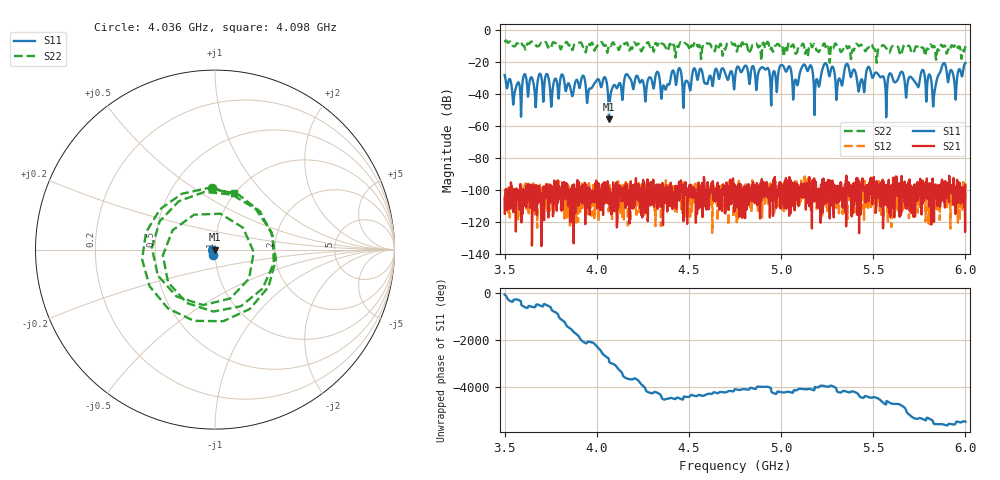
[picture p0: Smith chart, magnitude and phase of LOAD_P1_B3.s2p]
# Hz S RI R 50
! RAW DATA - UNCALIBRATED
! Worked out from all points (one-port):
!   1601 points, 3.5 GHz to 6 GHz, reference 50 ohm
!   lowest |S11| = -55.7 dB at 4.067 GHz (marker M1), VSWR 1.00, Z = 50.1 - j0.121 ohm
!   |S11| at or under -10 dB: start of sweep to end of sweep
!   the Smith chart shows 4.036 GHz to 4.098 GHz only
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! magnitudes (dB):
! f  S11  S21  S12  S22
! 3.5 GHz  -28.0  -105.2  -102.6  -7.5
! 3.552 GHz  -41.4  -103.0  -99.3  -10.1
! 3.609 GHz  -27.5  -105.0  -101.8  -11.2
! 3.917 GHz  -30.3  -99.8  -98.4  -8.2
! 4.044 GHz  -29.3  -104.3  -104.1  -9.3
! 4.067 GHz  -55.7  -98.9  -101.5  -9.1
! 4.162 GHz  -27.4  -106.7  -100.9  -7.7
! 4.334 GHz  -26.8  -107.1  -107.5  -8.3
! 4.75 GHz  -30.4  -100.4  -103.3  -8.7
! 5.167 GHz  -23.5  -123.9  -97.8  -10.6
! 5.191 GHz  -31.0  -106.1  -98.6  -12.0
! 5.239 GHz  -20.6  -105.8  -104.2  -9.4
! 5.306 GHz  -34.3  -97.2  -98.6  -10.6
! 5.356 GHz  -21.0  -96.6  -103.5  -10.7
! 5.423 GHz  -37.1  -126.8  -109.2  -9.9
! 5.475 GHz  -22.8  -97.4  -99.2  -10.8
! 5.584 GHz  -28.2  -93.5  -99.0  -13.6
! 5.767 GHz  -24.8  -94.0  -95.2  -10.9
! 5.83 GHz  -41.4  -119.9  -110.5  -9.8
! 5.88 GHz  -20.8  -102.3  -102.7  -10.4
! 5.945 GHz  -40.7  -101.3  -105.5  -8.7
! 6 GHz  -20.5  -96.6  -96.2  -10.0
